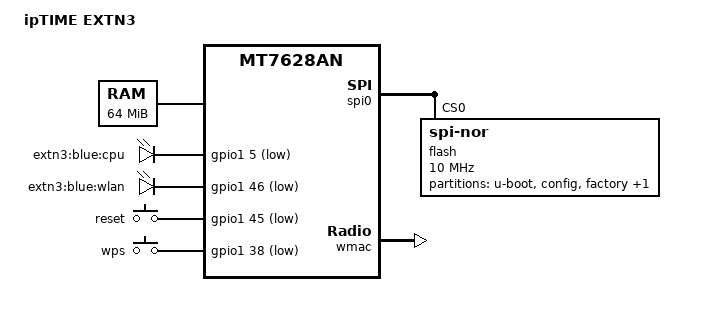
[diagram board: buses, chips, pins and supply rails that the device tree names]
/dts-v1/;

#include "mt7628an.dtsi"

#include <dt-bindings/gpio/gpio.h>
#include <dt-bindings/input/input.h>

/ {
	compatible = "iptime,extn3", "mediatek,mt7628an-soc";
	model = "ipTIME EXTN3";

	chosen {
		bootargs = "console=ttyS0,57600n8";
	};

	aliases {
		led-boot = &led_system;
		led-failsafe = &led_system;
		led-running = &led_system;
		led-upgrade = &led_system;
	};

	memory@0 {
		device_type = "memory";
		reg = <0x0 0x4000000>;
	};

	leds {
		compatible = "gpio-leds";

		led_system: system {
			label = "extn3:blue:cpu";
			gpios = <&gpio1 5 GPIO_ACTIVE_LOW>;
		};

		wlan2g {
			label = "extn3:blue:wlan";
			gpios = <&gpio1 46 GPIO_ACTIVE_LOW>;
			linux,default-trigger = "phy0tpt";
		};
	};
	
	keys {
		compatible = "gpio-keys-polled";
		poll-interval = <60>;

		reset {
			label = "reset";
			gpios = <&gpio1 45 GPIO_ACTIVE_LOW>;
			linux,code = <KEY_RESTART>;
		};

		wps {
			label = "wps";
			gpios = <&gpio1 38 GPIO_ACTIVE_LOW>;
			linux,code = <KEY_WPS_BUTTON>;
		};
	};
};

&pinctrl {
		state_default: pinctrl0 {
		gpio {
			ralink,group = "i2c", "uart1", "wdt";
			ralink,function = "gpio";
		};
	};
};

&esw {
	mediatek,portmap = <0x3e>;
	mediatek,portdisable = <0x32>;
};

&spi0 {
	status = "okay";

	flash@0 {
		compatible = "jedec,spi-nor";
		reg = <0>;
		spi-max-frequency = <10000000>;

		partitions {
			compatible = "fixed-partitions";
			#address-cells = <1>;
			#size-cells = <1>;

			uboot: partition@0 {
				label = "u-boot";
				reg = <0x0 0x20000>;
				read-only;
			};

			partition@20000 {
				label = "config";
				reg = <0x20000 0x10000>;
				read-only;
			};

			factory: partition@30000 {
				label = "factory";
				reg = <0x30000 0x10000>;
				read-only;
			};

			partition@40000 {
				compatible = "denx,uimage";
				label = "firmware";
				reg = <0x40000 0x3c0000>;
			};
		};
	};
};

&ethernet {
	mtd-mac-address = <&uboot 0x1fc20>;
	nvmem-cell-names = "mac-address";
};

&ehci {
	status = "disabled";
};

&ohci {
	status = "disabled";
};

&pcie {
	status = "disabled";
};

&pcie0 {
	status = "disabled";
};

&wmac {
	status = "okay";
};
